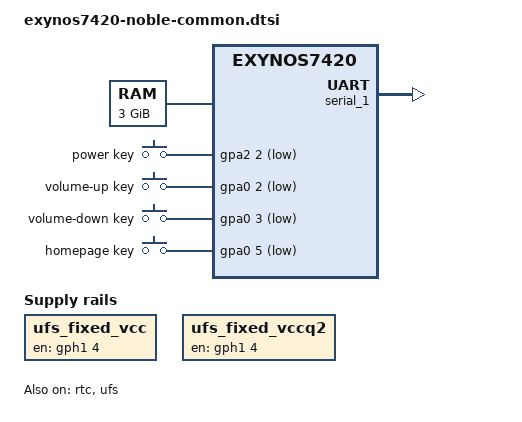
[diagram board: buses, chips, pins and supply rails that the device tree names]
// SPDX-License-Identifier: GPL-2.0

/dts-v1/;
#include <dt-bindings/clock/samsung,s2mps11.h>
#include <dt-bindings/gpio/gpio.h>
#include <dt-bindings/input/input.h>
#include <dt-bindings/interrupt-controller/irq.h>
#include "exynos7420.dtsi"

/ {
	aliases {
		serial0 = &serial_1;
	};

	chosen {
		bootargs = "earlycon=exynos4210,0x14c20000 console=ttySAC1,115200n8 root=/dev/sda15 rw ignore_loglevel";
		stdout-path = &serial_1;
	};

	memory@40000000 {
		device_type = "memory";
		reg = <0x0 0x40000000 0x0 0xC0000000>;
	};

	gpio-keys {
		compatible = "gpio-keys";

		power-key {
			gpios = <&gpa2 2 GPIO_ACTIVE_LOW>;
			linux,code = <KEY_POWER>;
			label = "power key";
			debounce-interval = <10>;
		};

		volume-up-key {
			gpios = <&gpa0 2 GPIO_ACTIVE_LOW>;
			linux,code = <KEY_VOLUMEUP>;
			label = "volume-up key";
			debounce-interval = <10>;
		};

		volume-down-key {
			gpios = <&gpa0 3 GPIO_ACTIVE_LOW>;
			linux,code = <KEY_VOLUMEDOWN>;
			label = "volume-down key";
			debounce-interval = <10>;
		};

		homepage-key {
			gpios = <&gpa0 5 GPIO_ACTIVE_LOW>;
			linux,code = <KEY_MENU>;
			label = "homepage key";
			debounce-interval = <10>;
		};
	};

	ufs_fixed_vcc: fixedregulator@0 {
		compatible = "regulator-fixed";
		regulator-name = "VDD_UFS_2P95";
		gpio = <&gph1 4 GPIO_ACTIVE_HIGH>;
		enable-active-high;
		regulator-boot-on;
		regulator-always-on;
	};

	ufs_fixed_vccq2: fixedregulator@2 {
		compatible = "regulator-fixed";
		regulator-name = "VDD_UFS_1P8";
		gpio = <&gph1 4 GPIO_ACTIVE_HIGH>;
		enable-active-high;
		startup-delay-us = <2000>;
		endup-delay-us = <2000>;
		regulator-boot-on;
		regulator-always-on;
	};
};


&rtc {
	status = "okay";
	clocks = <&clock_ccore PCLK_RTC>, <&s2mps13_osc S2MPS11_CLK_AP>;
	clock-names = "rtc", "rtc_src";
};

&serial_1 {
	status = "okay";
};

&timer {
	arm,cpu-registers-not-fw-configured;
	clock-frequency = <24000000>;
};

&ufs {
	status = "okay";
};
